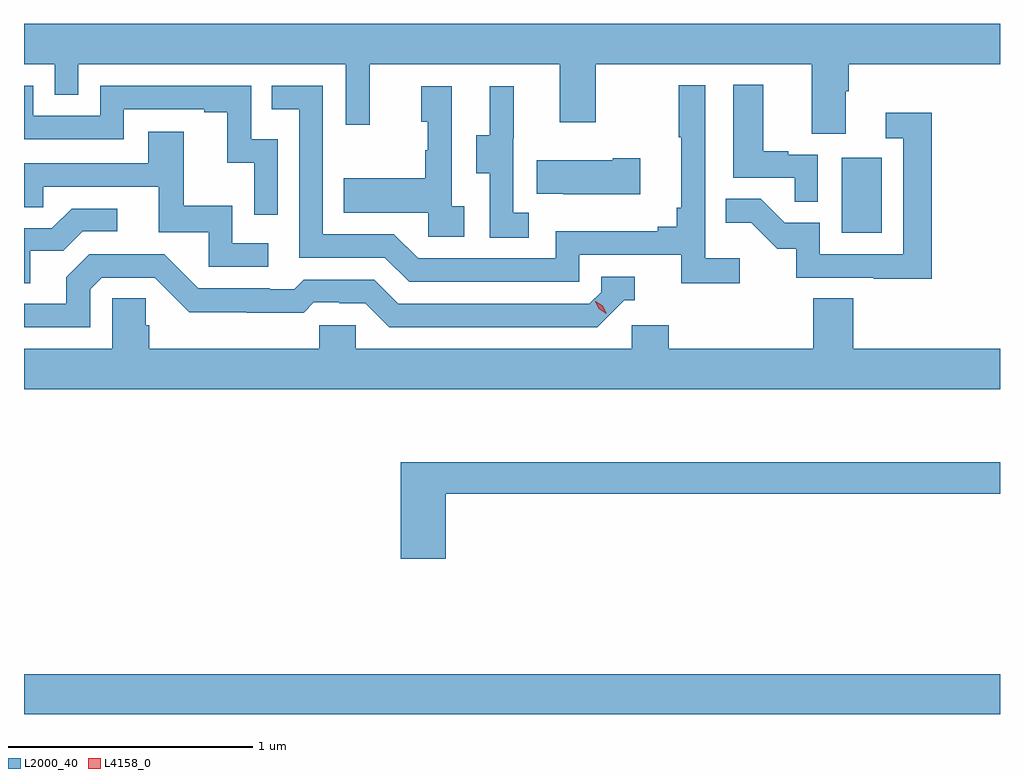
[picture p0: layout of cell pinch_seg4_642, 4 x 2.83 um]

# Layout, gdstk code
import gdstk
lib = gdstk.Library(unit=1e-6, precision=1e-09)
def R(c, l, rs):  # rectangles x0, y0, x1, y1
    for r in rs: c.add(gdstk.rectangle(r[:2], r[2:], *l))
def P(c, l, *ps):  # polygons
    for p in ps: c.add(gdstk.Polygon(p, *l))
L2000_40 = (2000, 40)
L4158_0 = (4158, 0)

pinch_seg4_642 = lib.new_cell('pinch_seg4_642')
R(pinch_seg4_642, L2000_40, [(1055.339,760.856,1059.339,761.02), (1058.69,762.828,1058.854,763.135)])
P(pinch_seg4_642, L2000_40, [(1058.707,763.408),(1058.72,763.408),(1058.72,763.52),(1059.339,763.52),(1059.339,763.684),(1055.339,763.684),(1055.339,763.52),(1055.466,763.52),(1055.466,763.393),(1055.562,763.393),(1055.562,763.52),(1056.657,763.52),(1056.657,763.272),(1056.755,763.272),(1056.755,763.52),(1057.535,763.52),(1057.535,763.281),(1057.683,763.281),(1057.683,763.52),(1058.567,763.52),(1058.567,763.234),(1058.707,763.234)],
  [(1058.592,763.149),(1058.471,763.149),(1058.471,763.162),(1058.368,763.162),(1058.368,763.435),(1058.246,763.435),(1058.246,763.053),(1058.497,763.053),(1058.497,762.955),(1058.592,762.955)],
  [(1058.272,762.724),(1058.13,762.724),(1058.13,763.432),(1058.022,763.432),(1058.022,763.219),(1058.033,763.219),(1058.033,762.931),(1058.014,762.931),(1058.014,762.854),(1057.937,762.854),(1057.937,762.835),(1057.518,762.835),(1057.518,762.723),(1056.954,762.723),(1056.855,762.822),(1056.564,762.822),(1056.564,763.431),(1056.355,763.431),(1056.355,763.335),(1056.468,763.335),(1056.468,762.726),(1056.818,762.726),(1056.917,762.627),(1057.614,762.627),(1057.614,762.738),(1058.033,762.738),(1058.033,762.622),(1058.272,762.622)],
  [(1056.378,763.212),(1056.27,763.212),(1056.27,763.431),(1055.652,763.431),(1055.652,763.308),(1055.376,763.308),(1055.376,763.431),(1055.339,763.431),(1055.339,763.212),(1055.748,763.212),(1055.748,763.335),(1056.077,763.335),(1056.077,763.323),(1056.173,763.323),(1056.173,763.115),(1056.282,763.115),(1056.282,762.903),(1056.378,762.903)],
  [(1057.408,762.911),(1057.344,762.911),(1057.344,763.215),(1057.346,763.215),(1057.346,763.429),(1057.247,763.429),(1057.247,763.227),(1057.193,763.227),(1057.193,763.072),(1057.248,763.072),(1057.248,762.808),(1057.408,762.808)],
  [(1057.144,762.938),(1057.092,762.938),(1057.092,763.429),(1056.968,763.429),(1056.968,763.284),(1056.994,763.284),(1056.994,763.166),(1056.984,763.166),(1056.984,763.051),(1056.649,763.051),(1056.649,762.911),(1056.996,762.911),(1056.996,762.813),(1057.144,762.813)],
  [(1059.059,763.321),(1058.871,763.321),(1058.871,763.215),(1058.943,763.215),(1058.943,762.741),(1058.601,762.741),(1058.601,762.87),(1058.456,762.87),(1058.358,762.968),(1058.215,762.968),(1058.215,762.869),(1058.319,762.869),(1058.426,762.762),(1058.503,762.762),(1058.503,762.645),(1058.821,762.645),(1058.821,762.64),(1059.059,762.64)],
  [(1056.34,762.786),(1056.192,762.786),(1056.192,762.94),(1055.993,762.94),(1055.993,763.243),(1055.849,763.243),(1055.849,763.113),(1055.339,763.113),(1055.339,762.933),(1055.417,762.933),(1055.417,763.017),(1055.891,763.017),(1055.891,762.831),(1056.096,762.831),(1056.096,762.69),(1056.34,762.69)],
  [(1057.864,763.134),(1057.751,763.134),(1057.751,763.126),(1057.441,763.126),(1057.441,762.989),(1057.549,762.989),(1057.549,762.986),(1057.864,762.986)],
  [(1055.365,762.754),(1055.5,762.754),(1055.58,762.834),(1055.722,762.834),(1055.722,762.927),(1055.534,762.927),(1055.453,762.846),(1055.339,762.846),(1055.339,762.622),(1055.365,762.622)],
  [(1055.61,762.597),(1055.658,762.645),(1055.874,762.645),(1056.016,762.503),(1056.252,762.503),(1056.252,762.501),(1056.485,762.501),(1056.527,762.543),(1056.63,762.543),(1056.63,762.54),(1056.737,762.54),(1056.836,762.441),(1057.689,762.441),(1057.8,762.552),(1057.843,762.552),(1057.843,762.648),(1057.704,762.648),(1057.704,762.585),(1057.656,762.537),(1056.873,762.537),(1056.774,762.636),(1056.485,762.636),(1056.446,762.597),(1056.347,762.597),(1056.347,762.6),(1056.054,762.6),(1055.913,762.741),(1055.607,762.741),(1055.513,762.647),(1055.513,762.537),(1055.339,762.537),(1055.339,762.441),(1055.61,762.441)],
  [(1055.837,762.45),(1055.837,762.56),(1055.7,762.56),(1055.7,762.352),(1055.339,762.352),(1055.339,762.188),(1059.339,762.188),(1059.339,762.352),(1058.738,762.352),(1058.738,762.56),(1058.573,762.56),(1058.573,762.352),(1057.982,762.352),(1057.982,762.45),(1057.83,762.45),(1057.83,762.352),(1056.699,762.352),(1056.699,762.45),(1056.549,762.45),(1056.549,762.352),(1055.852,762.352),(1055.852,762.45)],
  [(1057.067,761.758),(1059.339,761.758),(1059.339,761.887),(1056.884,761.887),(1056.884,761.493),(1057.067,761.493)])
P(pinch_seg4_642, L4158_0, [(1057.725,762.497),(1057.695,762.517),(1057.678,762.55),(1057.678,762.55),(1057.679,762.55),(1057.71,762.53),(1057.726,762.498),(1057.726,762.497)])

lib.write_gds('pinch_seg4_642.gds')
